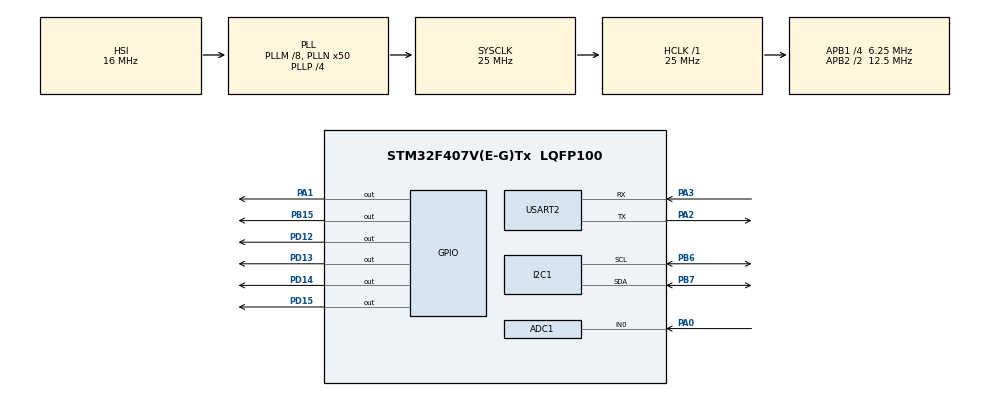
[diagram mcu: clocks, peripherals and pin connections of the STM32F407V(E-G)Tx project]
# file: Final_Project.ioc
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ADC1.Channel-0\#ChannelRegularConversion=ADC_CHANNEL_0
ADC1.NbrOfConversionFlag=1
ADC1.Rank-0\#ChannelRegularConversion=1
ADC1.SamplingTime-0\#ChannelRegularConversion=ADC_SAMPLETIME_3CYCLES
ADC1.master=1
Mcu.Family=STM32F4
Mcu.Name=STM32F407V(E-G)Tx
Mcu.Package=LQFP100
NVIC.PriorityGroup=NVIC_PRIORITYGROUP_0
PA0-WKUP.Signal=ADCx_IN0
PA1.Signal=GPIO_Output
PA2.Mode=Asynchronous
PA2.Signal=USART2_TX
PA3.Mode=Asynchronous
PA3.Signal=USART2_RX
PB15.Signal=GPIO_Output
PB6.Mode=I2C
PB6.Signal=I2C1_SCL
PB7.Mode=I2C
PB7.Signal=I2C1_SDA
PD12.Signal=GPIO_Output
PD13.Signal=GPIO_Output
PD14.Signal=GPIO_Output
PD15.Signal=GPIO_Output
PH0-OSC_IN.Mode=HSE-External-Oscillator
PH0-OSC_IN.Signal=RCC_OSC_IN
PH1-OSC_OUT.Mode=HSE-External-Oscillator
PH1-OSC_OUT.Signal=RCC_OSC_OUT
ProjectManager.HeapSize=0x200
ProjectManager.StackSize=0x400
ProjectManager.TargetToolchain=STM32CubeIDE
RCC.48MHZClocksFreq_Value=14285714.285714285
RCC.AHBFreq_Value=25000000
RCC.APB1CLKDivider=RCC_HCLK_DIV4
RCC.APB1Freq_Value=6250000
RCC.APB1TimFreq_Value=12500000
RCC.APB2CLKDivider=RCC_HCLK_DIV2
RCC.APB2Freq_Value=12500000
RCC.APB2TimFreq_Value=25000000
RCC.CortexFreq_Value=25000000
RCC.HCLKFreq_Value=25000000
RCC.HSE_VALUE=8000000
RCC.HSI_VALUE=16000000
RCC.LSE_VALUE=32768
RCC.PLLM=8
RCC.PLLN=50
RCC.PLLP=RCC_PLLP_DIV4
RCC.PLLQ=7
RCC.SYSCLKFreq_VALUE=25000000
RCC.SYSCLKSource=RCC_SYSCLKSOURCE_PLLCLK
RCC.VCOOutputFreq_Value=100000000
SH.ADCx_IN0.0=ADC1_IN0,IN0
USART2.VirtualMode=VM_ASYNC
board=STM32F407G-DISC1

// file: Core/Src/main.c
/* USER CODE BEGIN Header */
/**
  ******************************************************************************
  * @file           : main.c
  * @brief          : Main program body
  ******************************************************************************
  * @attention
  *
  * Copyright (c) 2025 STMicroelectronics.
  * All rights reserved.
  *
  * This software is licensed under terms that can be found in the LICENSE file
  * in the root directory of this software component.
  * If no LICENSE file comes with this software, it is provided AS-IS.
  *
  ******************************************************************************
  */
/* USER CODE END Header */
#include "main.h"
#include "DHT11.h"
#include "my_lcd.h"
#include "my_MQ2.h"
#include <stdio.h>
#include <string.h>

ADC_HandleTypeDef hadc1;

I2C_HandleTypeDef hi2c1;

UART_HandleTypeDef huart2;

void SystemClock_Config(void);
static void MX_GPIO_Init(void);
static void MX_ADC1_Init(void);
static void MX_I2C1_Init(void);
static void MX_USART2_UART_Init(void);

int main(void)
{

  /* USER CODE BEGIN 1 */
	uint8_t temperature = 0;
	uint8_t humidity = 0;
	char msg[50];
	uint16_t gas;
	char str[20];

  /* USER CODE END 1 */

  /* MCU Configuration--------------------------------------------------------*/

  /* Reset of all peripherals, Initializes the Flash interface and the Systick. */
  HAL_Init();

  /* Configure the system clock */
  SystemClock_Config();

  /* Initialize all configured peripherals */
  MX_GPIO_Init();
  MX_ADC1_Init();
  MX_I2C1_Init();
  MX_USART2_UART_Init();
  /* USER CODE BEGIN 2 */
  DHT11_Init();

  /* USER CODE END 2 */

  /* Infinite loop */
  /* USER CODE BEGIN WHILE */
  MQ2_Init(&hadc1);

  if (!lcd16x2_i2c_init(&hi2c1))
  {
	  // LCD not detected
	  while(1);
  }
  lcd16x2_i2c_clear();
  while (1)
  {
    /* USER CODE END WHILE */

    /* USER CODE BEGIN 3 */
	  //DHT11 sensor
	  uint8_t status ;
	  status = DHT11_Read(&temperature, &humidity);
	  if(status == 0)
	  {
		  lcd16x2_i2c_clear();
		  lcd16x2_i2c_setCursor(0, 0);
		  sprintf(msg, "Temp:%dC Hum:%d%%", temperature,humidity);
		  lcd16x2_i2c_printf(msg);
		  /*lcd16x2_i2c_setCursor(0, 1);
		  sprintf(msg, "Hum : %d %%", humidity);
		  lcd16x2_i2c_printf(msg);*/
	  }
	 // HAL_Delay(2000);

	  //MQ2 sensor
	  gas = MQ2_Read();
	  lcd16x2_i2c_setCursor(1,0);
	  sprintf(str, "Gas:%d   ", gas);
	  lcd16x2_i2c_printf(str);
	  HAL_GPIO_WritePin(GPIOD,GPIO_PIN_12 | GPIO_PIN_13 | GPIO_PIN_14 | GPIO_PIN_15,GPIO_PIN_RESET);

	  if (gas >= 500 && gas <700)
	  {
		  HAL_GPIO_WritePin(GPIOD, GPIO_PIN_15, GPIO_PIN_SET);
		  //HAL_GPIO_WritePin(GPIOD, GPIO_PIN_15, GPIO_PIN_RESET);

	  }
	  if (gas >= 700 && gas<1000)
	  {
		  HAL_GPIO_WritePin(GPIOD, GPIO_PIN_14, GPIO_PIN_SET);
		  //HAL_GPIO_WritePin(GPIOD, GPIO_PIN_14, GPIO_PIN_RESET);

	  }
	  if (gas >= 1000 && gas<1100)
	  {
		  HAL_GPIO_WritePin(GPIOD, GPIO_PIN_13, GPIO_PIN_SET);
		  //HAL_GPIO_WritePin(GPIOD, GPIO_PIN_13, GPIO_PIN_RESET);

	  }
	  if (gas >= 1100)
	  {
		  HAL_GPIO_WritePin(GPIOB, GPIO_PIN_15, GPIO_PIN_SET);
		  HAL_GPIO_WritePin(GPIOD, GPIO_PIN_12, GPIO_PIN_SET);
		  HAL_Delay(1000);
		  HAL_GPIO_WritePin(GPIOB, GPIO_PIN_15, GPIO_PIN_RESET);
		  //HAL_GPIO_WritePin(GPIOD, GPIO_PIN_12, GPIO_PIN_RESET);
		  //HAL_GPIO_WritePin(GPIOD, GPIO_PIN_13, GPIO_PIN_RESET);
		  //HAL_GPIO_WritePin(GPIOD, GPIO_PIN_14, GPIO_PIN_RESET);
		  //HAL_GPIO_WritePin(GPIOD, GPIO_PIN_15, GPIO_PIN_RESET);
		  }
      HAL_Delay(500);
  }
  /* USER CODE END 3 */
}

void SystemClock_Config(void)
{
  RCC_OscInitTypeDef RCC_OscInitStruct = {0};
  RCC_ClkInitTypeDef RCC_ClkInitStruct = {0};

  /** Configure the main internal regulator output voltage
  */
  __HAL_RCC_PWR_CLK_ENABLE();
  __HAL_PWR_VOLTAGESCALING_CONFIG(PWR_REGULATOR_VOLTAGE_SCALE1);

  /** Initializes the RCC Oscillators according to the specified parameters
  * in the RCC_OscInitTypeDef structure.
  */
  RCC_OscInitStruct.OscillatorType = RCC_OSCILLATORTYPE_HSI;
  RCC_OscInitStruct.HSIState = RCC_HSI_ON;
  RCC_OscInitStruct.HSICalibrationValue = RCC_HSICALIBRATION_DEFAULT;
  RCC_OscInitStruct.PLL.PLLState = RCC_PLL_ON;
  RCC_OscInitStruct.PLL.PLLSource = RCC_PLLSOURCE_HSI;
  RCC_OscInitStruct.PLL.PLLM = 8;
  RCC_OscInitStruct.PLL.PLLN = 50;
  RCC_OscInitStruct.PLL.PLLP = RCC_PLLP_DIV4;
  RCC_OscInitStruct.PLL.PLLQ = 7;
  if (HAL_RCC_OscConfig(&RCC_OscInitStruct) != HAL_OK)
  {
    Error_Handler();
  }

  /** Initializes the CPU, AHB and APB buses clocks
  */
  RCC_ClkInitStruct.ClockType = RCC_CLOCKTYPE_HCLK|RCC_CLOCKTYPE_SYSCLK
                              |RCC_CLOCKTYPE_PCLK1|RCC_CLOCKTYPE_PCLK2;
  RCC_ClkInitStruct.SYSCLKSource = RCC_SYSCLKSOURCE_PLLCLK;
  RCC_ClkInitStruct.AHBCLKDivider = RCC_SYSCLK_DIV1;
  RCC_ClkInitStruct.APB1CLKDivider = RCC_HCLK_DIV4;
  RCC_ClkInitStruct.APB2CLKDivider = RCC_HCLK_DIV2;

  if (HAL_RCC_ClockConfig(&RCC_ClkInitStruct, FLASH_LATENCY_0) != HAL_OK)
  {
    Error_Handler();
  }
}

static void MX_ADC1_Init(void)
{

  ADC_ChannelConfTypeDef sConfig = {0};

  /** Configure the global features of the ADC (Clock, Resolution, Data Alignment and number of conversion)
  */
  hadc1.Instance = ADC1;
  hadc1.Init.ClockPrescaler = ADC_CLOCK_SYNC_PCLK_DIV2;
  hadc1.Init.Resolution = ADC_RESOLUTION_12B;
  hadc1.Init.ScanConvMode = DISABLE;
  hadc1.Init.ContinuousConvMode = DISABLE;
  hadc1.Init.DiscontinuousConvMode = DISABLE;
  hadc1.Init.ExternalTrigConvEdge = ADC_EXTERNALTRIGCONVEDGE_NONE;
  hadc1.Init.ExternalTrigConv = ADC_SOFTWARE_START;
  hadc1.Init.DataAlign = ADC_DATAALIGN_RIGHT;
  hadc1.Init.NbrOfConversion = 1;
  hadc1.Init.DMAContinuousRequests = DISABLE;
  hadc1.Init.EOCSelection = ADC_EOC_SINGLE_CONV;
  if (HAL_ADC_Init(&hadc1) != HAL_OK)
  {
    Error_Handler();
  }

  /** Configure for the selected ADC regular channel its corresponding rank in the sequencer and its sample time.
  */
  sConfig.Channel = ADC_CHANNEL_0;
  sConfig.Rank = 1;
  sConfig.SamplingTime = ADC_SAMPLETIME_3CYCLES;
  if (HAL_ADC_ConfigChannel(&hadc1, &sConfig) != HAL_OK)
  {
    Error_Handler();
  }

}

static void MX_I2C1_Init(void)
{

  hi2c1.Instance = I2C1;
  hi2c1.Init.ClockSpeed = 100000;
  hi2c1.Init.DutyCycle = I2C_DUTYCYCLE_2;
  hi2c1.Init.OwnAddress1 = 0;
  hi2c1.Init.AddressingMode = I2C_ADDRESSINGMODE_7BIT;
  hi2c1.Init.DualAddressMode = I2C_DUALADDRESS_DISABLE;
  hi2c1.Init.OwnAddress2 = 0;
  hi2c1.Init.GeneralCallMode = I2C_GENERALCALL_DISABLE;
  hi2c1.Init.NoStretchMode = I2C_NOSTRETCH_DISABLE;
  if (HAL_I2C_Init(&hi2c1) != HAL_OK)
  {
    Error_Handler();
  }

}

static void MX_USART2_UART_Init(void)
{

  huart2.Instance = USART2;
  huart2.Init.BaudRate = 115200;
  huart2.Init.WordLength = UART_WORDLENGTH_8B;
  huart2.Init.StopBits = UART_STOPBITS_1;
  huart2.Init.Parity = UART_PARITY_NONE;
  huart2.Init.Mode = UART_MODE_TX_RX;
  huart2.Init.HwFlowCtl = UART_HWCONTROL_NONE;
  huart2.Init.OverSampling = UART_OVERSAMPLING_16;
  if (HAL_UART_Init(&huart2) != HAL_OK)
  {
    Error_Handler();
  }

}

static void MX_GPIO_Init(void)
{
  GPIO_InitTypeDef GPIO_InitStruct = {0};

  /* GPIO Ports Clock Enable */
  __HAL_RCC_GPIOH_CLK_ENABLE();
  __HAL_RCC_GPIOA_CLK_ENABLE();
  __HAL_RCC_GPIOB_CLK_ENABLE();
  __HAL_RCC_GPIOD_CLK_ENABLE();

  /*Configure GPIO pin Output Level */
  HAL_GPIO_WritePin(GPIOA, GPIO_PIN_1, GPIO_PIN_RESET);

  /*Configure GPIO pin Output Level */
  HAL_GPIO_WritePin(GPIOB, GPIO_PIN_15, GPIO_PIN_RESET);

  /*Configure GPIO pin Output Level */
  HAL_GPIO_WritePin(GPIOD, GPIO_PIN_12|GPIO_PIN_13|GPIO_PIN_14|GPIO_PIN_15, GPIO_PIN_RESET);

  /*Configure GPIO pin : PA1 */
  GPIO_InitStruct.Pin = GPIO_PIN_1;
  GPIO_InitStruct.Mode = GPIO_MODE_OUTPUT_PP;
  GPIO_InitStruct.Pull = GPIO_NOPULL;
  GPIO_InitStruct.Speed = GPIO_SPEED_FREQ_LOW;
  HAL_GPIO_Init(GPIOA, &GPIO_InitStruct);

  /*Configure GPIO pin : PB15 */
  GPIO_InitStruct.Pin = GPIO_PIN_15;
  GPIO_InitStruct.Mode = GPIO_MODE_OUTPUT_PP;
  GPIO_InitStruct.Pull = GPIO_NOPULL;
  GPIO_InitStruct.Speed = GPIO_SPEED_FREQ_LOW;
  HAL_GPIO_Init(GPIOB, &GPIO_InitStruct);

  /*Configure GPIO pins : PD12 PD13 PD14 PD15 */
  GPIO_InitStruct.Pin = GPIO_PIN_12|GPIO_PIN_13|GPIO_PIN_14|GPIO_PIN_15;
  GPIO_InitStruct.Mode = GPIO_MODE_OUTPUT_PP;
  GPIO_InitStruct.Pull = GPIO_NOPULL;
  GPIO_InitStruct.Speed = GPIO_SPEED_FREQ_LOW;
  HAL_GPIO_Init(GPIOD, &GPIO_InitStruct);

}

void Error_Handler(void)
{
  __disable_irq();
  while (1)
  {
  }
}
